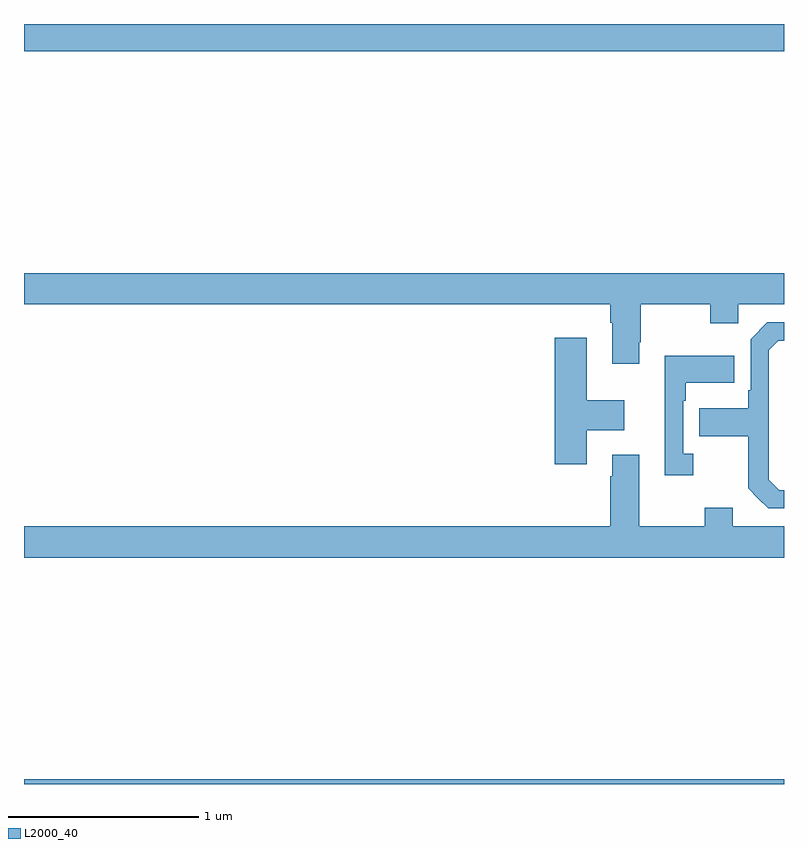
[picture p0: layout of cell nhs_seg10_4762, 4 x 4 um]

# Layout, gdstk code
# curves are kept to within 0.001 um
import gdstk
lib = gdstk.Library(unit=1e-6, precision=1e-09)
def R(c, l, rs):  # rectangles x0, y0, x1, y1
    for r in rs: c.add(gdstk.rectangle(r[:2], r[2:], *l))
def P(c, l, *ps):  # polygons
    for p in ps: c.add(gdstk.Polygon(p, *l))
L2000_40 = (2000, 40)

nhs_seg10_4762 = lib.new_cell('nhs_seg10_4762')
R(nhs_seg10_4762, L2000_40, [(385,1256.5,389,1256.524), (385,1260.356,389,1260.5)])
P(nhs_seg10_4762, L2000_40, [(388.237,1258.825),(388.245,1258.825),(388.245,1259.024),(388.612,1259.024),(388.612,1258.925),(388.758,1258.925),(388.758,1259.024),(389,1259.024),(389,1259.188),(385,1259.188),(385,1259.024),(388.085,1259.024),(388.085,1258.928),(388.097,1258.928),(388.097,1258.713),(388.237,1258.713)],
  [(389,1258.047),(388.974,1258.047),(388.92,1258.101),(388.92,1258.782),(388.971,1258.833),(389,1258.833),(389,1258.929),(388.911,1258.929),(388.824,1258.842),(388.824,1258.573),(388.812,1258.573),(388.812,1258.477),(388.555,1258.477),(388.555,1258.33),(388.812,1258.33),(388.812,1258.057),(388.917,1257.951),(389,1257.951)],
  [(387.961,1258.361),(388.159,1258.361),(388.159,1258.519),(387.961,1258.519),(387.961,1258.849),(387.794,1258.849),(387.794,1258.182),(387.961,1258.182)],
  [(388.522,1258.238),(388.47,1258.238),(388.47,1258.517),(388.483,1258.517),(388.483,1258.613),(388.739,1258.613),(388.739,1258.753),(388.373,1258.753),(388.373,1258.125),(388.522,1258.125)],
  [(389,1257.856),(388.729,1257.856),(388.729,1257.955),(388.582,1257.955),(388.582,1257.856),(388.237,1257.856),(388.237,1258.234),(388.097,1258.234),(388.097,1258.121),(388.085,1258.121),(388.085,1257.856),(385,1257.856),(385,1257.692),(389,1257.692)])

lib.write_gds('nhs_seg10_4762.gds')
